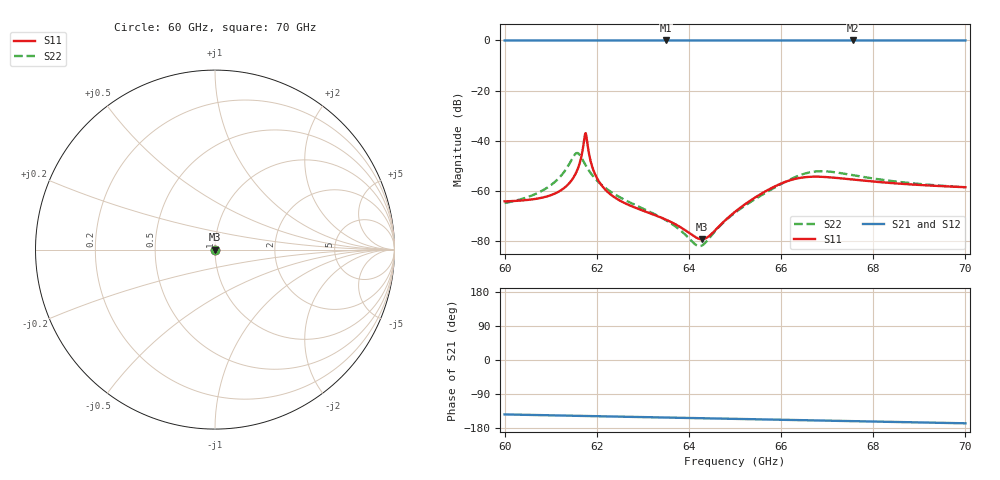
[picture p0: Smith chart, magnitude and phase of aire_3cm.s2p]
! TOUCHSTONE file generated by CST MICROWAVE STUDIO
! Date and time: Sat Feb 17 12:40:40 2024
! Project name: aire_def.cst
! Header version: 2018
! Port assignment regex: !\s*Touchstone port\s*([0-9]+)\s*=\s*(CST MWS port|CST DS port)\s*([0-9]+|Zmin|Zmax)\s*\(\"(.*)\"\)(\s*mode\s*([0-9]+))?.*
! Touchstone port assignment:
! Touchstone port 1 = CST MWS port 1 ("")
! Touchstone port 2 = CST MWS port 2 ("")
# GHz S MA R 376.7
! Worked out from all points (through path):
!   1001 points, 60 GHz to 70 GHz, reference 376.7 ohm
!   highest |S21| = 0.00 dB at 63.51 GHz (marker M1); lowest = 0.0 dB at 67.55 GHz (marker M2)
!   group delay of S21, straight-line fit = 6.51 ps
!   lowest |S11| = -79.4 dB at 64.28 GHz (marker M3), VSWR 1.00, Z = 377 + j0.0398 ohm
!   |S11| at or under -10 dB: start of sweep to end of sweep
!   |S22| runs from -82.1 to -44.9 dB; largest |S21 - S12| = 0.00062
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60  0.0006136 -2.3  0.9997 -143.6  0.9998 -143.6  0.0005674 -110.9
60.71  0.0006967 -15.8  0.9997 -145.3  0.9998 -145.3  0.0008959 -98.6
61.2  0.0009913 -33.1  0.9998 -146.4  0.9998 -146.4  0.001879 -97.7
61.5  0.001872 -50.2  0.9998 -147.2  0.9999 -147.2  0.004922 -132.2
61.58  0.00263 -57.3  0.9998 -147.3  0.9999 -147.3  0.005665 -163.1
61.67  0.005003 -71.8  0.9998 -147.6  0.9999 -147.6  0.004537 164.5
61.72  0.009431 -95.3  0.9998 -147.7  0.9999 -147.7  0.003736 153.5
61.76  0.0141 -152.6  0.9998 -147.8  0.9999 -147.8  0.003209 147.5
61.94  0.002393 125.2  0.9998 -148.2  0.9999 -148.2  0.001857 135.2
62.18  0.001064 109.2  0.9998 -148.8  0.9999 -148.7  0.00115 131.5
62.57  0.0005886 94.7  0.9999 -149.7  0.9999 -149.7  0.000685 131.4
63.34  0.0003058 86.1  1 -151.5  0.9999 -151.5  0.0003111 130.0
63.51  0.0002627 87.6  1 -151.9  0.9999 -151.9  0.000255 127.8
64.05  0.0001345 113.5  1 -153.2  0.9999 -153.1  0.0001008 97.0
64.28  0.0001075 150.5  1 -153.7  1 -153.7  8.047e-05 44.8
64.42  0.000121 178.3  1 -154.0  1 -154.0  0.000107 15.2
65  0.0003795 -130.1  1 -155.4  1 -155.4  0.0003642 -21.7
65.93  0.001303 -89.8  1 -157.5  1 -157.6  0.001256 -48.2
66.67  0.001904 -45.7  0.9996 -159.3  1 -159.3  0.002371 -92.1
67.55  0.001675 -13.0  0.9992 -161.3  0.9998 -161.3  0.002052 -139.3
68.34  0.001436 -0.5  0.9993 -163.2  0.9998 -163.2  0.001589 -154.9
70  0.001177 9.9  0.9995 -167.1  0.9997 -167.1  0.001171 -165.3
